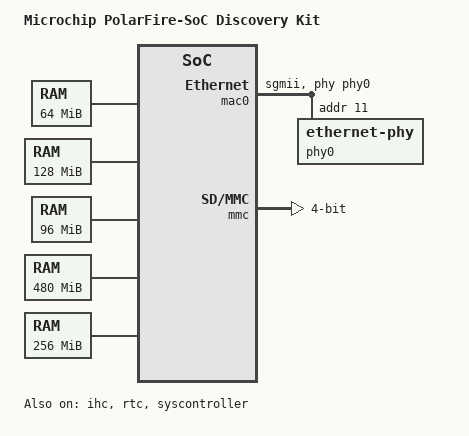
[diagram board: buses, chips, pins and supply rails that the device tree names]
// SPDX-License-Identifier: (GPL-2.0 OR MIT)
/* Copyright (c) 2020-2021 Microchip Technology Inc */

/dts-v1/;

#include "mpfs.dtsi"
#include "mpfs-disco-kit-fabric.dtsi"

/* Clock frequency (in Hz) of the rtcclk */
#define RTCCLK_FREQ		1000000

/ {
	#address-cells = <2>;
	#size-cells = <2>;
	model = "Microchip PolarFire-SoC Discovery Kit";
	compatible = "microchip,mpfs-disco-kit", "microchip,mpfs";

	soc {
		dma-ranges = <0x14 0x0 0x0 0x80000000 0x0 0x4000000>,
					<0x14 0x4000000 0x0 0xc4000000 0x0 0x6000000>,
					<0x14 0xa000000 0x0 0x8a000000 0x0 0x8000000>,
					<0x14 0x12000000 0x14 0x12000000 0x0 0x10000000>,
					<0x14 0x22000000 0x10 0x22000000 0x0 0x1e000000>;
	};

	aliases {
		ethernet0 = &mac0;
		serial4 = &mmuart4;
	};

	chosen {
		stdout-path = "serial4:115200n8";
	};

	cpus {
		timebase-frequency = <RTCCLK_FREQ>;
	};

	kernel: memory@80000000 {
		device_type = "memory";
		reg = <0x0 0x80000000 0x0 0x4000000>;
	};

	ddr_cached_low: memory@8a000000 {
		device_type = "memory";
		reg = <0x0 0x8a000000 0x0 0x8000000>;
	};

	ddr_non_cached_low: memory@c4000000 {
		device_type = "memory";
		reg = <0x0 0xc4000000 0x0 0x6000000>;
	};

	ddr_cached_high: memory@1022000000 {
		device_type = "memory";
		reg = <0x10 0x22000000 0x0 0x1e000000>;
	};

	ddr_non_cached_high: memory@1412000000 {
		device_type = "memory";
		reg = <0x14 0x12000000 0x0 0x10000000>;
	};

	reserved-memory {
		#address-cells = <2>;
		#size-cells = <2>;
		ranges;

		hss: hss-buffer@103fc00000 {
			compatible = "shared-dma-pool";
			reg = <0x10 0x3fc00000 0x0 0x400000>;
			no-map;
		};

		dma_non_cached_low: non-cached-low-buffer {
			compatible = "shared-dma-pool";
			size = <0x0 0x4000000>;
			no-map;
			linux,dma-default;
			alloc-ranges = <0x0 0xc4000000 0x0 0x4000000>;
		};

		dma_non_cached_high: non-cached-high-buffer {
			compatible = "shared-dma-pool";
			size = <0x0 0x10000000>;
			no-map;
			linux,dma-default;
			alloc-ranges = <0x14 0x12000000 0x0 0x10000000>;
		};

		fabricbuf0ddrc: buffer@88000000 {
			compatible = "shared-dma-pool";
			reg = <0x0 0x88000000 0x0 0x2000000>;
			no-map;
		};

		fabricbuf1ddrnc: buffer@c8000000 {
			compatible = "shared-dma-pool";
			reg = <0x0 0xc8000000 0x0 0x2000000>;
			no-map;
		};

		fabricbuf2ddrncwcb: buffer@d8000000 {
			compatible = "shared-dma-pool";
			reg = <0x0 0xd8000000 0x0 0x2000000>;
			no-map;
		};

		contextb_reserved: contextb_reserved@91c00000 {
			reg = <0x0 0x91c00000 0x0 0x100000>;
			no-map;
		};

		vdev0vring0: vdev0vring0@91d00000 {
			reg = <0x0 0x91d00000 0x0 0x8000>;
			no-map;
		};

		vdev0vring1: vdev0vring1@91d08000 {
			reg = <0x0 0x91d08000 0x0 0x8000>;
			no-map;
		};

		vdev0buffer: vdev0buff@91d10000 {
			compatible = "shared-dma-pool";
			reg = <0x0 0x91d10000 0x0 0x40000>;
			no-map;
		};

		rsctable: rsc-table@91d50000 {
			reg = <0x0 0x91d50000 0x0 0x1000>;
			no-map;
		};
	};

	rproc_contextb: remote-context {
		compatible = "microchip,miv-remoteproc";
		memory-region = <&vdev0buffer>, <&rsctable>,
				<&contextb_reserved>, <&vdev0vring0>,
				<&vdev0vring1>;
		mboxes= <&ihc 0>;
		status = "okay";
	};

	udmabuf0 {
		compatible = "ikwzm,u-dma-buf";
		device-name = "udmabuf-ddr-c0";
		minor-number = <0>;
		size = <0x0 0x2000000>;
		memory-region = <&fabricbuf0ddrc>;
		sync-mode = <3>;
	};

	udmabuf1 {
		compatible = "ikwzm,u-dma-buf";
		device-name = "udmabuf-ddr-nc0";
		minor-number = <1>;
		size = <0x0 0x2000000>;
		memory-region = <&fabricbuf1ddrnc>;
		sync-mode = <3>;
	};

	udmabuf2 {
		compatible = "ikwzm,u-dma-buf";
		device-name = "udmabuf-ddr-nc-wcb0";
		minor-number = <2>;
		size = <0x0 0x2000000>;
		memory-region = <&fabricbuf2ddrncwcb>;
		sync-mode = <3>;
	};
};

&fpgadma {
	status = "okay";
};

&fpgalsram {
	status = "okay";
};

&mac0 {
	dma-noncoherent;
	status = "okay";
	phy-mode = "sgmii";
	phy-handle = <&phy0>;

	phy0: ethernet-phy@11 {
		reg = <11>;
	};
};

&mbox {
	status = "okay";
};

&mmc {
	dma-noncoherent;
	bus-width = <4>;
	disable-wp;
	cap-sd-highspeed;
	cap-mmc-highspeed;
	sd-uhs-sdr12;
	sd-uhs-sdr25;
	sd-uhs-sdr50;
	sd-uhs-sdr104;
	no-1-8-v;
	status = "okay";
};

&mmuart4 {
	status = "okay";
};

&mmuart0 {
	status = "disabled"; // in use by context b
};

&refclk {
	clock-frequency = <125000000>;
};

&ihc {
	status = "okay";
};

&rtc {
	status = "okay";
};

&syscontroller {
	status = "okay";
};
